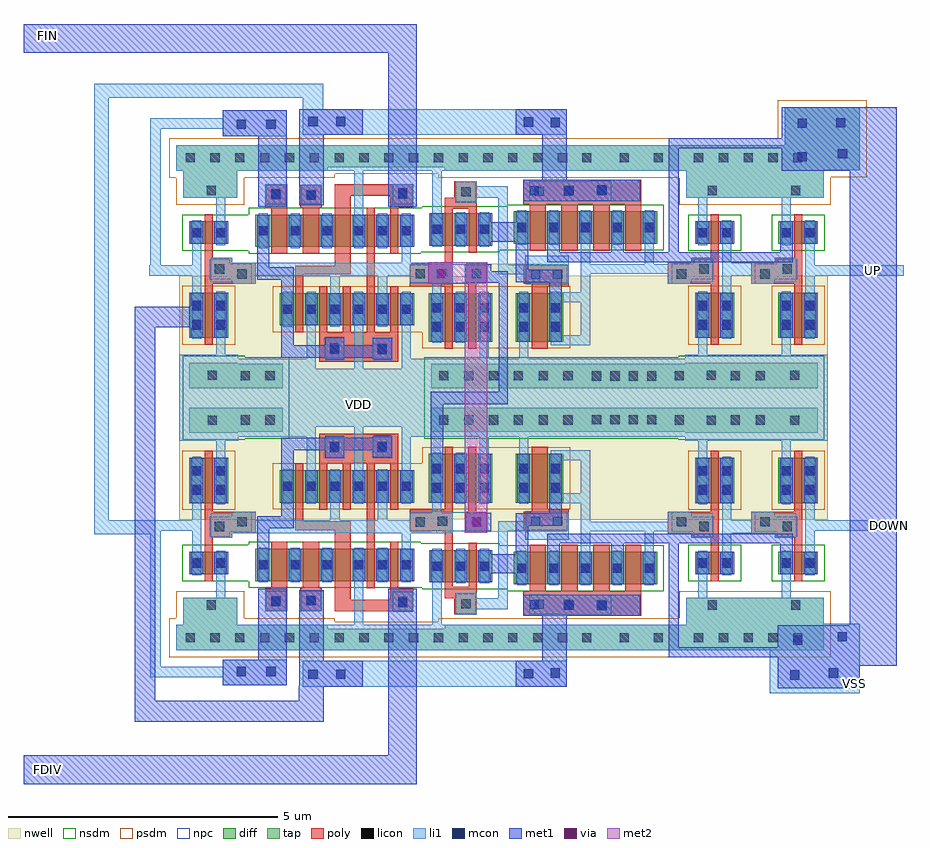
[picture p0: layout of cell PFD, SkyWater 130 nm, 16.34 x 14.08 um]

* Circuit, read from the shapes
.subckt PFD DOWN FDIV FIN UP VDD VSS
XM1 VSS PFD_UP_1/PFD_INV_21/IN PFD_UP_1/PFD_INV_21/OUT VSS sky130_fd_pr__nfet_01v8 w=0.42 l=0.15
XM2 VSS PFD_UP_0/PFD_INV_21/IN PFD_UP_0/PFD_INV_21/OUT VSS sky130_fd_pr__nfet_01v8 w=0.42 l=0.15
XM3 n1 PFD_UP_1/PFD_INV_21/OUT n2 VSS sky130_fd_pr__nfet_01v8 w=0.6 l=0.3
XM4 n3 PFD_UP_0/PFD_INV_21/OUT n4 VSS sky130_fd_pr__nfet_01v8 w=0.6 l=0.3
XM5 n5 PFD_UP_0/PFD_INV_21/OUT n1 VSS sky130_fd_pr__nfet_01v8 w=0.6 l=0.3
XM6 n6 PFD_UP_1/PFD_INV_21/OUT n3 VSS sky130_fd_pr__nfet_01v8 w=0.6 l=0.3
XM7 VSS FDIV n5 VSS sky130_fd_pr__nfet_01v8 w=0.6 l=0.3
XM8 VSS FIN n6 VSS sky130_fd_pr__nfet_01v8 w=0.6 l=0.3
XM9 n7 n2 VSS VSS sky130_fd_pr__nfet_01v8 w=0.6 l=0.15
XM10 n8 n4 VSS VSS sky130_fd_pr__nfet_01v8 w=0.6 l=0.15
XM11 PFD_UP_1/PFD_INV_21/IN FDIV n7 VSS sky130_fd_pr__nfet_01v8 w=0.6 l=0.15
XM12 PFD_UP_0/PFD_INV_21/IN FIN n8 VSS sky130_fd_pr__nfet_01v8 w=0.6 l=0.15
XM13 n9 PFD_UP_1/PFD_INV_21/IN VSS VSS sky130_fd_pr__nfet_01v8 w=0.6 l=0.15
XM14 n10 PFD_UP_0/PFD_INV_21/IN VSS VSS sky130_fd_pr__nfet_01v8 w=0.6 l=0.15
XM15 PFD_UP_1/PFD_INV_19/IN PFD_UP_1/PFD_INV_21/IN n9 VSS sky130_fd_pr__nfet_01v8 w=0.6 l=0.15
XM16 PFD_UP_0/PFD_INV_19/IN PFD_UP_0/PFD_INV_21/IN n10 VSS sky130_fd_pr__nfet_01v8 w=0.6 l=0.15
XM17 VSS PFD_UP_0/PFD_INV_21/OUT PFD_UP_1/PFD_INV_19/IN VSS sky130_fd_pr__nfet_01v8 w=0.6 l=0.3 m=4
XM18 VSS PFD_UP_1/PFD_INV_21/OUT PFD_UP_0/PFD_INV_19/IN VSS sky130_fd_pr__nfet_01v8 w=0.6 l=0.3 m=4
XM19 PFD_UP_1/PFD_INV_20/IN PFD_UP_1/PFD_INV_19/IN VSS VSS sky130_fd_pr__nfet_01v8 w=0.42 l=0.15
XM20 PFD_UP_0/PFD_INV_20/IN PFD_UP_0/PFD_INV_19/IN VSS VSS sky130_fd_pr__nfet_01v8 w=0.42 l=0.15
XM21 DOWN PFD_UP_1/PFD_INV_20/IN VSS VSS sky130_fd_pr__nfet_01v8 w=0.42 l=0.15
XM22 UP PFD_UP_0/PFD_INV_20/IN VSS VSS sky130_fd_pr__nfet_01v8 w=0.42 l=0.15
XM23 VDD PFD_UP_1/PFD_INV_21/IN PFD_UP_1/PFD_INV_21/OUT VDD sky130_fd_pr__pfet_01v8 w=0.84 l=0.15
XM24 VDD PFD_UP_0/PFD_INV_21/IN PFD_UP_0/PFD_INV_21/OUT VDD sky130_fd_pr__pfet_01v8 w=0.84 l=0.15
XM25 VDD FDIV n2 VDD sky130_fd_pr__pfet_01v8 w=0.6 l=0.15
XM26 VDD FIN n4 VDD sky130_fd_pr__pfet_01v8 w=0.6 l=0.15
XM27 PFD_UP_1/PFD_INV_21/IN n2 VDD VDD sky130_fd_pr__pfet_01v8 w=0.6 l=0.15 m=4
XM28 PFD_UP_0/PFD_INV_21/IN n4 VDD VDD sky130_fd_pr__pfet_01v8 w=0.6 l=0.15 m=4
XM29 n11 PFD_UP_1/PFD_INV_21/IN PFD_UP_1/PFD_INV_21/IN VDD sky130_fd_pr__pfet_01v8 w=0.9 l=0.15
XM30 n12 PFD_UP_0/PFD_INV_21/IN PFD_UP_0/PFD_INV_21/IN VDD sky130_fd_pr__pfet_01v8 w=0.9 l=0.15
XM31 VDD PFD_UP_0/PFD_INV_21/IN n11 VDD sky130_fd_pr__pfet_01v8 w=0.9 l=0.15
XM32 VDD PFD_UP_1/PFD_INV_21/IN n12 VDD sky130_fd_pr__pfet_01v8 w=0.9 l=0.15
XM33 PFD_UP_1/PFD_INV_19/IN PFD_UP_1/PFD_INV_21/IN VDD VDD sky130_fd_pr__pfet_01v8 w=0.9 l=0.3
XM34 PFD_UP_0/PFD_INV_19/IN PFD_UP_0/PFD_INV_21/IN VDD VDD sky130_fd_pr__pfet_01v8 w=0.9 l=0.3
XM35 PFD_UP_1/PFD_INV_20/IN PFD_UP_1/PFD_INV_19/IN VDD VDD sky130_fd_pr__pfet_01v8 w=0.84 l=0.15
XM36 PFD_UP_0/PFD_INV_20/IN PFD_UP_0/PFD_INV_19/IN VDD VDD sky130_fd_pr__pfet_01v8 w=0.84 l=0.15
XM37 DOWN PFD_UP_1/PFD_INV_20/IN VDD VDD sky130_fd_pr__pfet_01v8 w=0.84 l=0.15
XM38 UP PFD_UP_0/PFD_INV_20/IN VDD VDD sky130_fd_pr__pfet_01v8 w=0.84 l=0.15
.ends

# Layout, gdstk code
from math import pi, radians
import gdstk
lib = gdstk.Library(unit=1e-6, precision=1e-09)
def R(c, l, rs):  # rectangles x0, y0, x1, y1
    for r in rs: c.add(gdstk.rectangle(r[:2], r[2:], *l))
def A(c, l, x, y, w, h, nx, ny, dx, dy):  # array of equal rectangles
    R(c, l, [(x+i*dx, y+j*dy, x+i*dx+w, y+j*dy+h) for i in range(nx) for j in range(ny)])
nwell = (64, 20)
diff = (65, 20)
tap = (65, 44)
poly = (66, 20)
licon = (66, 44)
li1 = (67, 20)
mcon = (67, 44)
met1 = (68, 20)
via = (68, 44)
met2 = (69, 20)
nsdm = (93, 44)
psdm = (94, 20)
npc = (95, 20)

sky130_fd_pr__pfet_01v8_ = lib.new_cell('sky130_fd_pr__pfet_01v8_EP25JC')
R(sky130_fd_pr__pfet_01v8_, nwell, [(-0.62,-0.76,0.62,0.76)])
R(sky130_fd_pr__pfet_01v8_, diff, [(-0.44,-0.45,0.44,0.45)])
R(sky130_fd_pr__pfet_01v8_, poly, [(-0.15,-0.58,0.15,0.58)])
R(sky130_fd_pr__pfet_01v8_, licon, [(-0.38,-0.255,-0.21,-0.085), (0.21,-0.255,0.38,-0.085), (-0.38,0.085,-0.21,0.255), (0.21,0.085,0.38,0.255)])
R(sky130_fd_pr__pfet_01v8_, li1, [(-0.38,-0.47,-0.21,0.47), (0.21,-0.47,0.38,0.47)])
R(sky130_fd_pr__pfet_01v8_, mcon, [(-0.38,-0.265,-0.21,-0.095), (0.21,-0.265,0.38,-0.095), (-0.38,0.095,-0.21,0.265), (0.21,0.095,0.38,0.265)])
R(sky130_fd_pr__pfet_01v8_, met1, [(-0.41,-0.45,-0.18,0.45), (0.18,-0.45,0.41,0.45)])
R(sky130_fd_pr__pfet_01v8_, psdm, [(-0.565,-0.575,0.565,0.575)])

c_sky130_fd_pr__pfet_01v8_ = lib.new_cell('sky130_fd_pr__pfet_01v8_58P8XA')
R(c_sky130_fd_pr__pfet_01v8_, nwell, [(-0.545,-0.61,0.545,0.61)])
R(c_sky130_fd_pr__pfet_01v8_, diff, [(-0.365,-0.3,0.365,0.3)])
R(c_sky130_fd_pr__pfet_01v8_, poly, [(-0.075,-0.43,0.075,0.43)])
R(c_sky130_fd_pr__pfet_01v8_, licon, [(-0.305,-0.085,-0.135,0.085), (0.135,-0.085,0.305,0.085)])
R(c_sky130_fd_pr__pfet_01v8_, li1, [(-0.305,-0.32,-0.135,0.32), (0.135,-0.32,0.305,0.32)])
R(c_sky130_fd_pr__pfet_01v8_, mcon, [(-0.305,-0.085,-0.135,0.085), (0.135,-0.085,0.305,0.085)])
R(c_sky130_fd_pr__pfet_01v8_, met1, [(-0.335,-0.3,-0.105,0.3), (0.105,-0.3,0.335,0.3)])
R(c_sky130_fd_pr__pfet_01v8_, psdm, [(-0.49,-0.425,0.49,0.425)])

c_sky130_fd_pr__pfet_01v8__ = lib.new_cell('sky130_fd_pr__pfet_01v8_5AY9XA')
R(c_sky130_fd_pr__pfet_01v8__, nwell, [(-0.545,-0.76,0.545,0.76)])
R(c_sky130_fd_pr__pfet_01v8__, diff, [(-0.365,-0.45,0.365,0.45)])
R(c_sky130_fd_pr__pfet_01v8__, poly, [(-0.075,-0.58,0.075,0.58)])
R(c_sky130_fd_pr__pfet_01v8__, licon, [(-0.305,-0.255,-0.135,-0.085), (0.135,-0.255,0.305,-0.085), (-0.305,0.085,-0.135,0.255), (0.135,0.085,0.305,0.255)])
R(c_sky130_fd_pr__pfet_01v8__, li1, [(-0.305,-0.47,-0.135,0.47), (0.135,-0.47,0.305,0.47)])
R(c_sky130_fd_pr__pfet_01v8__, mcon, [(-0.305,-0.265,-0.135,-0.095), (0.135,-0.265,0.305,-0.095), (-0.305,0.095,-0.135,0.265), (0.135,0.095,0.305,0.265)])
R(c_sky130_fd_pr__pfet_01v8__, met1, [(-0.335,-0.45,-0.105,0.45), (0.105,-0.45,0.335,0.45)])
R(c_sky130_fd_pr__pfet_01v8__, psdm, [(-0.49,-0.575,0.49,0.575)])

sky130_fd_pr__nfet_01v8_ = lib.new_cell('sky130_fd_pr__nfet_01v8_R2UA5N')
R(sky130_fd_pr__nfet_01v8_, diff, [(-0.44,-0.3,0.44,0.3)])
R(sky130_fd_pr__nfet_01v8_, poly, [(-0.15,-0.43,0.15,0.43)])
R(sky130_fd_pr__nfet_01v8_, licon, [(-0.38,-0.085,-0.21,0.085), (0.21,-0.085,0.38,0.085)])
R(sky130_fd_pr__nfet_01v8_, li1, [(-0.38,-0.32,-0.21,0.32), (0.21,-0.32,0.38,0.32)])
R(sky130_fd_pr__nfet_01v8_, mcon, [(-0.38,-0.085,-0.21,0.085), (0.21,-0.085,0.38,0.085)])
R(sky130_fd_pr__nfet_01v8_, met1, [(-0.41,-0.3,-0.18,0.3), (0.18,-0.3,0.41,0.3)])
R(sky130_fd_pr__nfet_01v8_, nsdm, [(-0.565,-0.425,0.565,0.425)])

c_sky130_fd_pr__nfet_01v8_ = lib.new_cell('sky130_fd_pr__nfet_01v8_FB3UY2')
R(c_sky130_fd_pr__nfet_01v8_, diff, [(-0.365,-0.3,0.365,0.3)])
R(c_sky130_fd_pr__nfet_01v8_, poly, [(-0.075,-0.43,0.075,0.43)])
R(c_sky130_fd_pr__nfet_01v8_, licon, [(-0.305,-0.085,-0.135,0.085), (0.135,-0.085,0.305,0.085)])
R(c_sky130_fd_pr__nfet_01v8_, li1, [(-0.305,-0.32,-0.135,0.32), (0.135,-0.32,0.305,0.32)])
R(c_sky130_fd_pr__nfet_01v8_, mcon, [(-0.305,-0.085,-0.135,0.085), (0.135,-0.085,0.305,0.085)])
R(c_sky130_fd_pr__nfet_01v8_, met1, [(-0.335,-0.3,-0.105,0.3), (0.105,-0.3,0.335,0.3)])
R(c_sky130_fd_pr__nfet_01v8_, nsdm, [(-0.49,-0.425,0.49,0.425)])

c_sky130_fd_pr__pfet_01v8___ = lib.new_cell('sky130_fd_pr__pfet_01v8_54DJGB')
R(c_sky130_fd_pr__pfet_01v8___, nwell, [(-0.545,-0.73,0.545,0.73)])
R(c_sky130_fd_pr__pfet_01v8___, diff, [(-0.365,-0.42,0.365,0.42)])
R(c_sky130_fd_pr__pfet_01v8___, poly, [(-0.075,-0.55,0.075,0.55)])
R(c_sky130_fd_pr__pfet_01v8___, licon, [(-0.305,-0.255,-0.135,-0.085), (0.135,-0.255,0.305,-0.085), (-0.305,0.085,-0.135,0.255), (0.135,0.085,0.305,0.255)])
R(c_sky130_fd_pr__pfet_01v8___, li1, [(-0.305,-0.44,-0.135,0.44), (0.135,-0.44,0.305,0.44)])
R(c_sky130_fd_pr__pfet_01v8___, mcon, [(-0.305,-0.265,-0.135,-0.095), (0.135,-0.265,0.305,-0.095), (-0.305,0.095,-0.135,0.265), (0.135,0.095,0.305,0.265)])
R(c_sky130_fd_pr__pfet_01v8___, met1, [(-0.335,-0.42,-0.105,0.42), (0.105,-0.42,0.335,0.42)])
R(c_sky130_fd_pr__pfet_01v8___, psdm, [(-0.49,-0.545,0.49,0.545)])

c_sky130_fd_pr__nfet_01v8__ = lib.new_cell('sky130_fd_pr__nfet_01v8_A6LSUL')
R(c_sky130_fd_pr__nfet_01v8__, diff, [(-0.365,-0.21,0.365,0.21)])
R(c_sky130_fd_pr__nfet_01v8__, poly, [(-0.075,-0.34,0.075,0.34)])
R(c_sky130_fd_pr__nfet_01v8__, licon, [(-0.305,-0.085,-0.135,0.085), (0.135,-0.085,0.305,0.085)])
R(c_sky130_fd_pr__nfet_01v8__, li1, [(-0.305,-0.23,-0.135,0.23), (0.135,-0.23,0.305,0.23)])
R(c_sky130_fd_pr__nfet_01v8__, mcon, [(-0.305,-0.085,-0.135,0.085), (0.135,-0.085,0.305,0.085)])
R(c_sky130_fd_pr__nfet_01v8__, met1, [(-0.335,-0.21,-0.105,0.21), (0.105,-0.21,0.335,0.21)])
R(c_sky130_fd_pr__nfet_01v8__, nsdm, [(-0.49,-0.335,0.49,0.335)])

pfd_inv = lib.new_cell('PFD_INV')
R(pfd_inv, nwell, [(0,1.46,1.09,2.26)])
R(pfd_inv, tap, [(0.015,-1.84,1.02,-1.445), (0.185,1.61,0.905,2.08)])
R(pfd_inv, poly, [(0.47,-0.46,0.62,-0.335), (0.11,-0.335,0.62,-0.245), (-0.325,-0.245,0.62,0.145), (0.47,0.145,0.62,0.19)])
R(pfd_inv, licon, [(0.415,-1.665,0.585,-1.495), (0.26,-0.21,0.43,-0.04), (-0.155,-0.12,0.015,0.05), (0.395,1.76,0.565,1.93)])
R(pfd_inv, li1, [(0.015,-1.84,1.02,-1.445), (0.24,-1.445,0.41,-0.78), (0.68,-0.69,0.85,-0.2), (0.11,-0.335,0.51,-0.245), (-0.325,-0.245,0.51,0.12), (0.68,-0.2,1.355,-0.005), (0.68,-0.005,0.85,0.29), (-0.325,0.12,0.09,0.145), (0.24,1.17,0.41,1.46), (0,1.46,1.09,2.26)])
R(pfd_inv, nsdm, [(0.06,1.485,1.03,2.205)])
R(pfd_inv, psdm, [(-0.11,-1.965,1.145,-1.32)])
R(pfd_inv, npc, [(0.16,-0.31,0.53,-0.22), (-0.255,-0.22,0.53,0.06), (-0.255,0.06,0.115,0.15)])
pfd_inv.add(gdstk.Reference(c_sky130_fd_pr__pfet_01v8___, (0.545,0.73)))
pfd_inv.add(gdstk.Reference(c_sky130_fd_pr__nfet_01v8__, (0.545,-0.8)))
pfd_inv.add(gdstk.Label('IN', (-0.155,-0.05), layer=67, texttype=5))
pfd_inv.add(gdstk.Label('OUT', (1.275,-0.07), layer=67, texttype=5))
pfd_inv.add(gdstk.Label('VDD', (0.48,1.845), layer=67, texttype=5))
pfd_inv.add(gdstk.Label('VSS', (0.5,-1.575), layer=67, texttype=5))

pfd_up = lib.new_cell('PFD_UP')
R(pfd_up, nwell, [(4.02,0.02,5.04,0.24), (-1.68,0.24,-1.155,0.415), (-0.595,0.24,0,0.415), (4.02,0.24,8.275,0.31), (8.785,0.24,9.24,1.85), (3.705,0.295,3.945,0.34), (4.02,0.31,5.145,0.37), (5.535,0.31,8.275,0.335), (5.535,0.335,7.695,0.545), (4.02,0.37,5.04,0.375), (5.125,0.37,5.145,0.375), (5.505,0.37,5.53,0.435), (4.02,0.375,5.145,0.38), (3.825,0.38,5.145,0.395), (3.825,0.395,4.44,0.4), (4.73,0.395,5.145,0.43), (4.295,0.4,4.4,1.47), (2.975,0.405,3.285,0.43), (-1.68,0.415,0,1.47), (4.845,0.43,5.145,0.435), (5.205,0.545,5.505,0.73), (5.53,0.545,7.695,0.73), (5.535,0.73,7.695,1.345), (2.44,1.1,2.61,1.105), (2.44,1.105,2.77,1.47), (0.68,1.18,0.85,1.47), (1.56,1.18,1.73,1.29), (1.06,1.29,2.38,1.345), (1.055,1.345,2.38,1.38), (5.205,1.345,7.695,1.47), (1.02,1.38,2.38,1.455), (0.91,1.455,2.385,1.47), (-1.68,1.47,7.695,1.845), (-1.68,1.845,7.88,1.855), (8.6,1.85,9.43,2.32), (-1.68,1.855,8.56,2.32), (-1.68,2.32,7.695,2.5), (8.785,2.32,9.24,2.5)])
R(pfd_up, tap, [(-1.74,-2.18,10.26,-1.775), (-1.74,-1.775,1.07,-1.705), (3.24,-1.775,10.26,-1.705), (-1.61,-1.705,-0.605,-1.6), (7.71,-1.705,10.26,-1.205), (-0.775,1.85,-0.595,1.87), (7.695,1.85,7.88,1.855), (8.6,1.85,9.43,1.975), (7.695,1.855,8.56,1.87), (-0.775,1.87,0.235,2.32), (2.985,1.87,8.56,1.975), (2.985,1.975,9.43,2.205), (2.985,2.205,8.56,2.32), (8.6,2.205,9.43,2.32)])
R(pfd_up, poly, [(4.69,-1.535,6.88,-1.085), (3.415,-1.51,3.83,-1.21), (-0.09,-1.455,0.32,-1.015), (1.2,-1.455,2.655,-1.245), (0.56,-1.45,0.955,-1.025), (1.2,-1.245,1.5,-1.025), (2.23,-1.245,2.655,-1.025), (3.24,-1.21,3.83,-1), (2.23,-1.025,2.38,-1.02), (3.24,-0.195,3.39,0.035), (1.2,-0.165,1.5,0.05), (1.79,-0.165,1.94,0.43), (3.61,0.03,4.02,0.38), (2.59,0.035,3.39,0.43), (4.705,0.045,5.53,0.385), (0.47,0.05,1.5,0.215), (0.47,0.215,0.62,0.43), (3.61,0.38,3.825,0.39), (4.845,0.385,5.53,0.435), (3.675,0.39,3.825,0.435), (3.285,0.43,3.385,0.48), (0.91,1.285,1.06,1.29), (0.91,1.29,2.38,1.835)])
A(pfd_up, licon, -1.565, -2.03, 0.17, 0.17, 16, 1, 0.46, 0)
A(pfd_up, licon, 7.855, -2.03, 0.17, 0.17, 5, 1, 0.46, 0)
A(pfd_up, licon, 3.135, 2.005, 0.17, 0.17, 6, 1, 0.46, 0)
A(pfd_up, licon, 5.965, 2.01, 0.17, 0.17, 4, 1, 0.34, 0)
R(pfd_up, licon, [(5.785,-2.03,5.955,-1.86), (6.475,-2.03,6.645,-1.86), (7.11,-2.03,7.28,-1.86), (6.05,-1.42,6.22,-1.25), (5.44,-1.415,5.61,-1.245), (4.905,-1.41,5.075,-1.24), (3.545,-1.4,3.715,-1.23), (2.375,-1.36,2.545,-1.19), (0.025,-1.345,0.195,-1.175), (0.675,-1.345,0.845,-1.175), (3.74,0.11,3.91,0.28), (2.7,0.115,2.87,0.285), (3.11,0.125,3.28,0.295), (4.84,0.125,5.01,0.295), (5.24,0.125,5.41,0.295), (1.105,1.49,1.275,1.66), (1.99,1.495,2.16,1.665), (-0.545,2.005,-0.375,2.175), (-0.085,2.005,0.085,2.175), (7.495,2.005,7.665,2.175), (8.535,2.005,8.705,2.175), (8.995,2.005,9.165,2.175)])
R(pfd_up, li1, [(0.605,-2.85,5.495,-2.37), (-0.875,-2.83,0.31,-2.68), (-2.22,-2.68,0.31,-2.485), (-2.22,-2.485,-2.025,0.04), (-0.875,-2.485,0.31,-2.35), (-1.74,-2.18,10.26,-1.705), (-1.61,-1.705,-0.605,-1.6), (1.56,-1.705,1.73,-0.915), (3.01,-1.705,3.18,-0.915), (7.71,-1.705,10.26,-1.205), (4.695,-1.535,6.86,-1.145), (3.435,-1.515,3.83,-1.42), (-0.09,-1.455,0.31,-1.085), (2.265,-1.455,2.655,-1.085), (0.565,-1.45,0.955,-1.085), (3.435,-1.42,4.405,-1.21), (3.435,-1.21,3.83,-1.115), (4.23,-1.21,4.405,0.035), (7.935,-1.205,8.105,-0.76), (9.48,-1.205,9.65,-0.8), (5.76,-0.335,5.93,0.03), (6.94,-0.335,7.11,0.03), (2.44,-0.28,2.61,-0.005), (4.725,-0.13,5.53,0.035), (-0.885,-0.005,3.39,0.235), (8.54,-0.005,9.05,0.04), (5.76,0.03,7.625,0.2), (4.23,0.035,5.53,0.21), (-2.24,0.04,-1.67,0.235), (3.61,0.04,4.02,0.37), (10.4,0.04,11.675,0.235), (5.76,0.2,5.93,0.545), (4.725,0.21,5.53,0.37), (1.12,0.235,1.29,0.545), (2,0.235,2.17,0.55), (2.59,0.235,3.39,0.37), (3.005,0.37,3.175,0.6), (5.205,0.545,5.93,0.73), (5.76,0.73,5.93,1.345), (2.44,1.105,2.61,1.775), (0.68,1.18,0.85,1.775), (1.56,1.18,1.73,1.96), (5.205,1.345,5.93,1.53), (1.02,1.38,1.38,1.785), (1.905,1.385,2.265,1.79), (3.885,1.48,4.055,1.775), (4.615,1.48,4.785,1.775), (8.785,1.7,9.24,1.775), (-0.59,1.775,0.85,1.85), (2.44,1.775,10.235,1.96), (-0.775,1.85,0.85,1.96), (-0.775,1.96,10.235,2.32), (-0.59,2.32,10.235,2.44), (-0.59,2.44,7.695,2.5), (8.785,2.44,9.24,2.5)])
R(pfd_up, mcon, [(0.71,-2.705,0.88,-2.535), (1.225,-2.705,1.395,-2.535), (4.705,-2.695,4.875,-2.525), (5.2,-2.685,5.37,-2.515), (-0.62,-2.655,-0.45,-2.485), (-0.065,-2.655,0.105,-2.485), (6.065,-1.435,6.235,-1.265), (5.455,-1.43,5.625,-1.26), (4.81,-1.42,4.98,-1.25), (2.375,-1.38,2.545,-1.21), (0.02,-1.36,0.19,-1.19), (0.68,-1.335,0.85,-1.165), (3.74,0.115,3.91,0.285), (1.11,1.515,1.28,1.685), (1.995,1.52,2.165,1.69)])
R(pfd_up, met1, [(2.19,-3.05,2.72,-1.04), (0.54,-2.85,1.72,-2.37), (4.55,-2.85,5.495,-2.37), (-0.875,-2.83,0.31,-2.35), (0.54,-2.37,0.995,-1.07), (5.04,-2.37,5.495,-1.535), (-0.215,-2.35,0.31,-1.04), (7.39,-2.305,9.645,-2.125), (7.39,-2.125,7.57,-0.195), (4.695,-1.535,6.86,-1.145), (4.025,-0.75,4.62,-0.515), (4.025,-0.515,4.595,-0.395), (5.14,-0.36,5.37,-0.195), (4.55,-0.355,4.78,0.13), (6.32,-0.355,6.55,-0.195), (9.45,-0.35,9.68,-0.195), (-0.24,-0.335,-0.01,0.08), (5.14,-0.195,9.68,-0.015), (3.625,0.03,4.1,0.37), (-0.24,0.08,0.44,0.31), (4.55,0.13,5.405,0.36), (0.21,0.31,0.44,0.565), (5.175,0.36,5.405,0.565), (0.21,1.155,0.44,1.53), (1.02,1.38,1.38,1.53), (1.905,1.385,2.265,1.53), (0.21,1.53,2.265,1.76), (1.02,1.76,1.38,1.785), (1.905,1.76,2.265,1.79), (1.035,1.785,1.365,1.8), (1.92,1.79,2.25,1.805)])
R(pfd_up, nsdm, [(4.245,-1.045,4.395,-0.23), (2.795,-1.02,2.825,-0.195), (-0.645,-0.895,-0.395,-0.225), (-0.9,1.725,-0.47,1.745), (7.57,1.725,8.005,1.73), (8.475,1.725,9.555,1.73), (7.57,1.73,9.555,1.745), (-0.9,1.745,0.36,2.445), (2.86,1.745,9.555,2.445)])
R(pfd_up, psdm, [(-1.865,-2.305,10.385,-1.65), (-1.865,-1.65,1.195,-1.58), (3.115,-1.65,10.385,-1.58), (-1.735,-1.58,-0.48,-1.475), (7.585,-1.58,10.385,-1.08), (2.795,0.435,2.82,1.285), (4.24,0.435,4.43,1.585)])
R(pfd_up, npc, [(5.95,-1.52,6.32,-1.515), (5.34,-1.515,6.32,-1.51), (4.805,-1.51,6.32,-1.15), (3.445,-1.5,3.815,-1.13), (2.275,-1.46,2.645,-1.09), (-0.075,-1.445,0.295,-1.075), (0.575,-1.445,0.945,-1.075), (4.805,-1.15,5.71,-1.145), (4.805,-1.145,5.175,-1.14), (3.64,0.01,4.01,0.025), (2.6,0.015,2.97,0.025), (2.6,0.025,4.01,0.38), (4.74,0.025,5.51,0.395), (2.6,0.38,3.38,0.385), (3.01,0.385,3.38,0.395), (1.005,1.39,1.375,1.76), (1.89,1.395,2.26,1.765)])
pfd_up.add(gdstk.Reference(sky130_fd_pr__pfet_01v8_, (4.995,1.01)))
pfd_up.add(gdstk.Reference(c_sky130_fd_pr__pfet_01v8_, (2.305,0.86)))
pfd_up.add(gdstk.Reference(c_sky130_fd_pr__pfet_01v8_, (1.865,0.86)))
pfd_up.add(gdstk.Reference(c_sky130_fd_pr__pfet_01v8_, (1.425,0.86)))
pfd_up.add(gdstk.Reference(c_sky130_fd_pr__pfet_01v8_, (0.985,0.86)))
pfd_up.add(gdstk.Reference(c_sky130_fd_pr__pfet_01v8_, (0.545,0.86)))
pfd_up.add(gdstk.Reference(c_sky130_fd_pr__pfet_01v8__, (3.75,1.01)))
pfd_up.add(gdstk.Reference(c_sky130_fd_pr__pfet_01v8__, (3.31,1.01)))
pfd_up.add(gdstk.Reference(sky130_fd_pr__nfet_01v8_, (6.73,-0.655)))
pfd_up.add(gdstk.Reference(sky130_fd_pr__nfet_01v8_, (6.14,-0.655)))
pfd_up.add(gdstk.Reference(sky130_fd_pr__nfet_01v8_, (4.96,-0.655)))
pfd_up.add(gdstk.Reference(sky130_fd_pr__nfet_01v8_, (5.55,-0.655)))
pfd_up.add(gdstk.Reference(sky130_fd_pr__nfet_01v8_, (0.76,-0.595)))
pfd_up.add(gdstk.Reference(sky130_fd_pr__nfet_01v8_, (0.17,-0.595)))
pfd_up.add(gdstk.Reference(sky130_fd_pr__nfet_01v8_, (1.35,-0.595)))
pfd_up.add(gdstk.Reference(c_sky130_fd_pr__nfet_01v8_, (3.315,-0.62)))
pfd_up.add(gdstk.Reference(c_sky130_fd_pr__nfet_01v8_, (3.755,-0.62)))
pfd_up.add(gdstk.Reference(c_sky130_fd_pr__nfet_01v8_, (1.865,-0.595)))
pfd_up.add(gdstk.Reference(c_sky130_fd_pr__nfet_01v8_, (2.305,-0.595)))
pfd_up.add(gdstk.Reference(pfd_inv, (7.695,0.24)))
pfd_up.add(gdstk.Reference(pfd_inv, (9.24,0.24)))
pfd_up.add(gdstk.Reference(pfd_inv, (-0.59,0.24), rotation=pi, x_reflection=True))

pfd = lib.new_cell('PFD')
R(pfd, nwell, [(5.965,6.915,6.1,6.955)])
R(pfd, tap, [(11.4,9,12.795,10.17)])
R(pfd, li1, [(11.12,-0.69,12.795,0.595), (11.225,0.595,12.075,0.605), (-1.39,2.255,-0.27,2.325), (-1.39,2.325,0.03,2.52), (12.38,2.325,13.65,2.52), (-1.39,2.52,-1.125,10.34), (2.035,4.245,4.475,5.325), (4.89,6.95,5.19,7.245), (12.315,7.05,13.605,7.245), (11.4,9,12.795,10.17), (2.535,9.855,2.73,10.135), (2.47,10.135,2.855,10.34), (-1.39,10.34,2.855,10.605)])
R(pfd, mcon, [(11.5,-0.435,11.67,-0.265), (12.22,-0.4,12.39,-0.23), (11.555,0.21,11.725,0.38), (12.38,0.275,12.55,0.445), (4.955,7.01,5.125,7.18), (11.635,9.165,11.805,9.335), (12.385,9.22,12.555,9.39), (11.64,9.785,11.81,9.955), (12.355,9.795,12.525,9.965)])
R(pfd, met1, [(-2.695,-2.37,4.585,-1.84), (4.055,-1.84,4.585,0.22), (-0.645,-1.215,2.86,-0.83), (-0.645,-0.83,-0.26,6.09), (2.4,-0.83,2.86,-0.56), (11.27,-0.595,12.795,-0.175), (11.27,-0.175,13.475,0.575), (12.605,0.575,13.475,8.99), (5.49,2.335,5.89,2.63), (4.84,3.69,5.07,4.665), (4.84,4.665,6.27,4.895), (6.1,4.895,6.27,6.915), (-0.645,6.09,0.445,6.475), (4.795,6.9,5.25,7.295), (5.965,6.915,6.27,6.955), (5.795,6.955,6.27,7.125), (11.345,8.99,13.475,10.17), (4.055,9.805,4.585,11.18), (-2.695,11.18,4.585,11.71)])
R(pfd, via, [(5.615,2.405,5.765,2.555), (4.965,7.02,5.115,7.17)])
R(pfd, met2, [(5.475,2.285,5.89,6.9), (4.795,6.9,5.89,7.295)])
R(pfd, nsdm, [(0.245,4.73,2.225,4.84), (4.725,4.73,12.135,4.84)])
R(pfd, psdm, [(11.275,8.875,12.92,10.295)])
pfd.add(gdstk.Reference(pfd_up, (1.865,7.285), x_reflection=True))
pfd.add(gdstk.Reference(pfd_up, (1.865,2.285)))
pfd.add(gdstk.Label('FIN', (-2.25,11.49), layer=68, texttype=5))
pfd.add(gdstk.Label('FDIV', (-2.25,-2.105), layer=68, texttype=5))
pfd.add(gdstk.Label('UP', (13.025,7.15), layer=67, texttype=5))
pfd.add(gdstk.Label('DOWN', (13.34,2.41), layer=67, texttype=5))
pfd.add(gdstk.Label('VSS', (12.695,-0.505), layer=68, texttype=5))
pfd.add(gdstk.Label('VDD', (3.51,4.655), layer=67, texttype=5))

lib.write_gds('PFD.gds')
